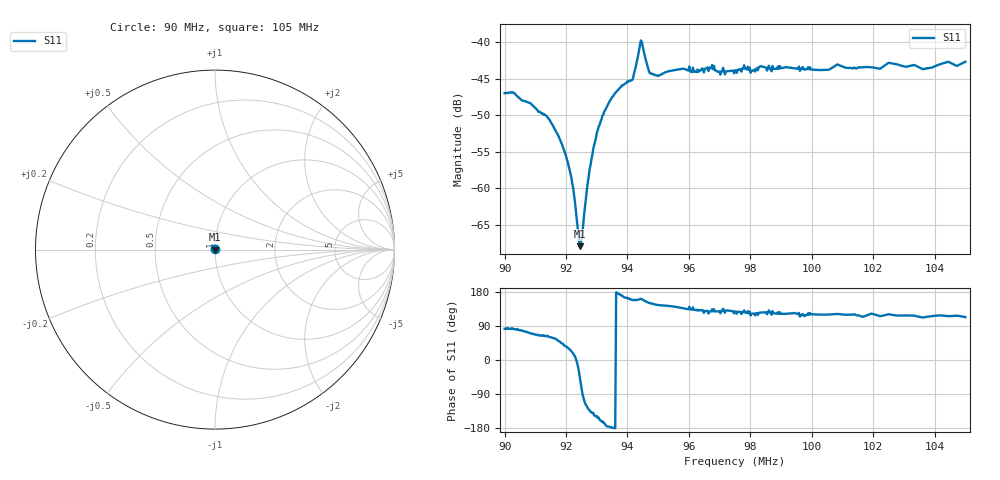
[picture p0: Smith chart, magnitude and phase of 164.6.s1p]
# HZ S RI R 50
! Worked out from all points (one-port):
!   505 points, 90 MHz to 105 MHz, reference 50 ohm
!   lowest |S11| = -68.0 dB at 92.44 MHz (marker M1), VSWR 1.00, Z = 50 - j0.0266 ohm
!   |S11| at or under -10 dB: start of sweep to end of sweep
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9e7  0.000609 0.00443
9.029762e7  0.000624 0.00445
9.136905e7  0.00144 0.00276
9.187501e7  0.00144 0.00135
9.217263e7  0.00108 0.00047
9.244048e7  0.000298 -0.000266
9.250001e7  0.000123 -0.000429
9.27381e7  -0.000783 -0.000911
9.300596e7  -0.00205 -0.00127
9.330358e7  -0.00349 -0.000455
9.375001e7  -0.00482 0.000584
9.413692e7  -0.00511 0.00199
9.443454e7  -0.00974 0.00328
9.449406e7  -0.00874 0.00335
9.467263e7  -0.00581 0.00315
9.476192e7  -0.00523 0.00311
9.562502e7  -0.00492 0.00422
9.675597e7  -0.00486 0.00502
9.696431e7  -0.00391 0.00492
9.750002e7  -0.00395 0.00504
9.836312e7  -0.00397 0.00556
9.937503e7  -0.00363 0.00555
1.0125e8  -0.0033 0.00578
1.022024e8  -0.00288 0.00592
1.025298e8  -0.00363 0.00621
1.03125e8  -0.00316 0.00605
1.036608e8  -0.00252 0.00605
1.05e8  -0.00288 0.00675
